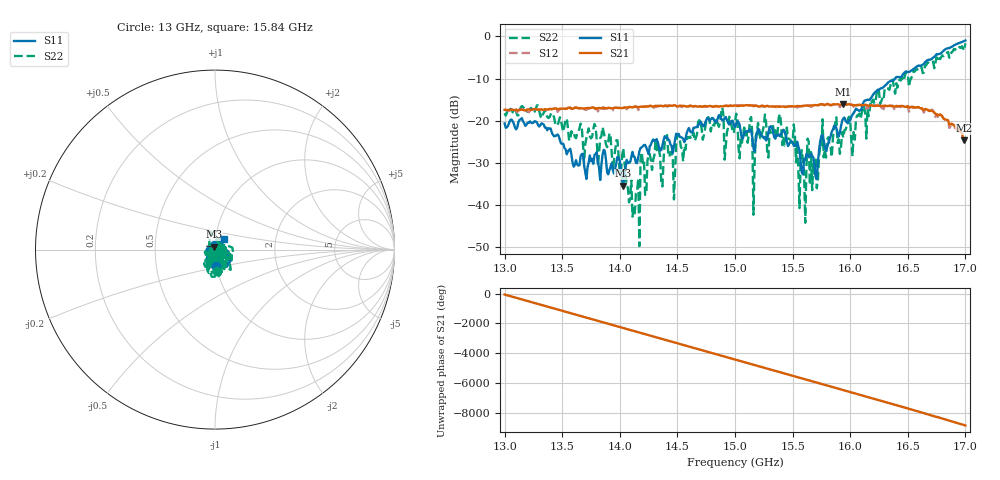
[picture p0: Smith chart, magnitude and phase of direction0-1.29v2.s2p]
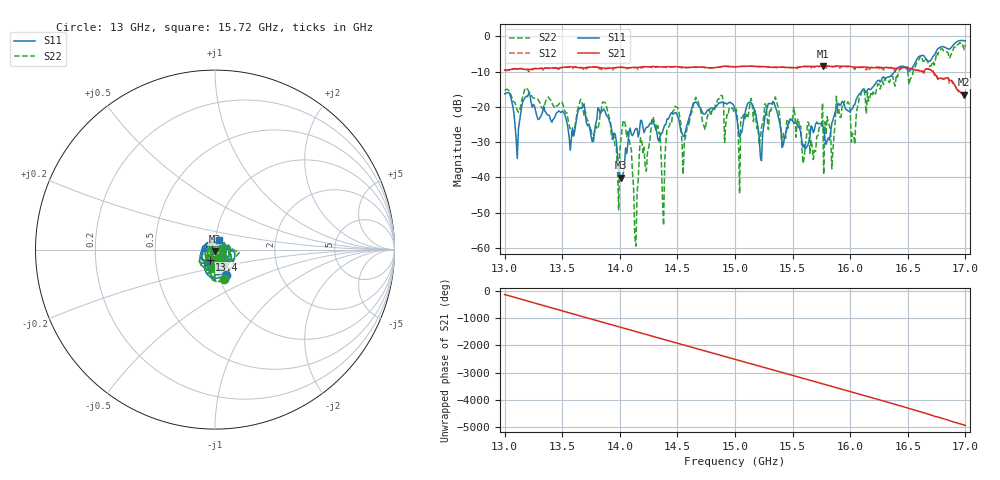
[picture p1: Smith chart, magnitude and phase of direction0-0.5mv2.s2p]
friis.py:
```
import skrf as rf
import numpy as np
import matplotlib.pyplot as plt
from pyasn1_modules.rfc5990 import sha512


def getR(S12, f, G):    #Calculates the distance between the horns based on Friis equation
    S12 = abs(S12)  #Absolute value is relevant for power transfer

    wavelength = 2.997e8/f
    r = (wavelength*G)/(4*np.pi*S12)

    return r

def getG(S12, f, r):
    S12 = abs(S12)  # Absolute value is relevant for power transfer

    wavelength = 3e8 / f

    G = (4*S12*np.pi*r)/(wavelength)

    return G

if __name__ == '__main__':

    net129cm = rf.Network('direction0-1.29v2.s2p')
    net50cm = rf.Network('direction0-0.5mv2.s2p')
    net100cm = rf.Network('direction0-1mv2.s2p')

    f = net129cm.frequency.f[int(len(net129cm.s12.s) / 2)]
    tot_f = net129cm.frequency.f
    tot_S12_129cm = net129cm.s12.s.squeeze()
    S12_129cm = net129cm.s12.s.squeeze()[int(len(net129cm.s12.s) / 2)]
    S12_100cm = net100cm.s12.s.squeeze()[int(len(net129cm.s12.s) / 2)]
    S12_50cm = net50cm.s12.s.squeeze()[int(len(net129cm.s12.s) / 2)]

    Gtot = getG(tot_S12_129cm, tot_f, 1.29)
    print(Gtot.shape)
    G = getG(S12_129cm, f, 1.29)
    R2 = getR(S12_50cm, f, G)
    R3 = getR(S12_100cm, f, G)

    #print(f"Estimated range for 50cm:\n{round(R2,3)} m \nfor 1m: \n{round(R3,3)} m")
    #
    plt.figure(figsize=(8, 5))
    plt.rcParams['font.size'] = '16'
    plt.plot(tot_f/ 1e9 , 10*np.log10(Gtot))
    plt.xlabel('Frequency (GHz)', fontsize=15)
    plt.ylabel('Gain (dB)', fontsize=15)
    plt.tick_params(axis='both', labelsize=15)
    plt.grid(True)

    # plt.xticks(np.linspace(0, 10, 11))
    # plt.yticks(np.linspace(-180, 180, 10))
    # plt.xlim(thru.frequency.f.min()/1e9, thru.frequency.f.max()/1e9)
    plt.savefig("gainPlot.svg")
    plt.show()
```
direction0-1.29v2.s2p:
!Keysight Technologies,P9374A,MY57211810,A.19.30.04
!Date: Friday, May 02, 2025 10:35:46
!Correction: S11(C* 2-Port  )
!S21(C* 2-Port  )
!S12(C* 2-Port  )
!S22(C* 2-Port  )
!S2P File: Measurements: S11, S21, S12, S22:
# Hz S  dB  R 50
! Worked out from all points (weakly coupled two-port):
!   401 points, 13 GHz to 17 GHz, reference 50 ohm
!   highest |S21| = -16.01 dB at 15.94 GHz (marker M1); lowest = -24.7 dB at 16.99 GHz (marker M2)
!   lowest |S11| = -35.4 dB at 14.03 GHz (marker M3), VSWR 1.03, Z = 49.3 + j1.54 ohm
!   |S11| at or under -10 dB: start of sweep to 16.39 GHz
!   |S22| runs from -49.7 to -1.7 dB; largest |S21 - S12| = 0.018
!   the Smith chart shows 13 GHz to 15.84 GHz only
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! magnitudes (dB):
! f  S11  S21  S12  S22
! 13 GHz  -20.6  -17.4  -17.3  -18.2
! 14.03 GHz  -35.4  -17.0  -16.8  -26.5
! 14.15 GHz  -30.1  -16.8  -16.7  -36.7
! 14.32 GHz  -24.4  -16.5  -16.6  -27.0
! 15 GHz  -21.5  -16.4  -16.5  -20.4
! 15.17 GHz  -27.3  -16.5  -16.4  -30.3
! 15.38 GHz  -23.2  -16.7  -16.6  -19.2
! 15.7 GHz  -33.4  -16.3  -16.4  -28.8
! 15.94 GHz  -19.5  -16.0  -16.2  -24.0
! 16.99 GHz  -1.1  -24.7  -25.4  -3.4
! 17 GHz  -1.0  -24.2  -24.3  -1.7
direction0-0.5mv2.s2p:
!Keysight Technologies,P9374A,MY57211810,A.19.30.04
!Date: Friday, May 02, 2025 10:38:08
!Correction: S11(C* 2-Port  )
!S21(C* 2-Port  )
!S12(C* 2-Port  )
!S22(C* 2-Port  )
!S2P File: Measurements: S11, S21, S12, S22:
# Hz S  dB  R 50
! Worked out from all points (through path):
!   401 points, 13 GHz to 17 GHz, reference 50 ohm
!   highest |S21| = -8.38 dB at 15.76 GHz (marker M1); lowest = -16.5 dB at 16.99 GHz (marker M2)
!   lowest |S11| = -40.1 dB at 14.01 GHz (marker M3), VSWR 1.02, Z = 50.1 - j0.983 ohm
!   |S11| at or under -10 dB: start of sweep to 16.39 GHz
!   |S22| runs from -59.5 to -1.7 dB; largest |S21 - S12| = 0.042
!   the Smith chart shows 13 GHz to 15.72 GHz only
!   S11 on the Smith chart (normalised r, x): 13 GHz: 1.09, -0.31; 13.4 GHz: 0.94, -0.11; 15.72 GHz: 1.04, +0.11
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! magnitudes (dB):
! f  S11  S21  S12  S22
! 13 GHz  -16.3  -9.5  -9.5  -15.3
! 13.4 GHz  -23.7  -8.9  -9.0  -18.0
! 14.01 GHz  -40.1  -8.7  -8.7  -29.1
! 14.14 GHz  -26.1  -8.8  -8.8  -59.5
! 14.29 GHz  -24.1  -8.5  -9.1  -22.8
! 14.38 GHz  -26.1  -8.7  -8.6  -53.7
! 15 GHz  -20.7  -8.6  -8.6  -21.4
! 15.72 GHz  -24.8  -8.5  -8.6  -28.1
! 15.76 GHz  -25.4  -8.4  -8.3  -18.9
! 16.99 GHz  -1.2  -16.5  -17.1  -3.7
! 17 GHz  -1.2  -15.8  -15.8  -2.3
